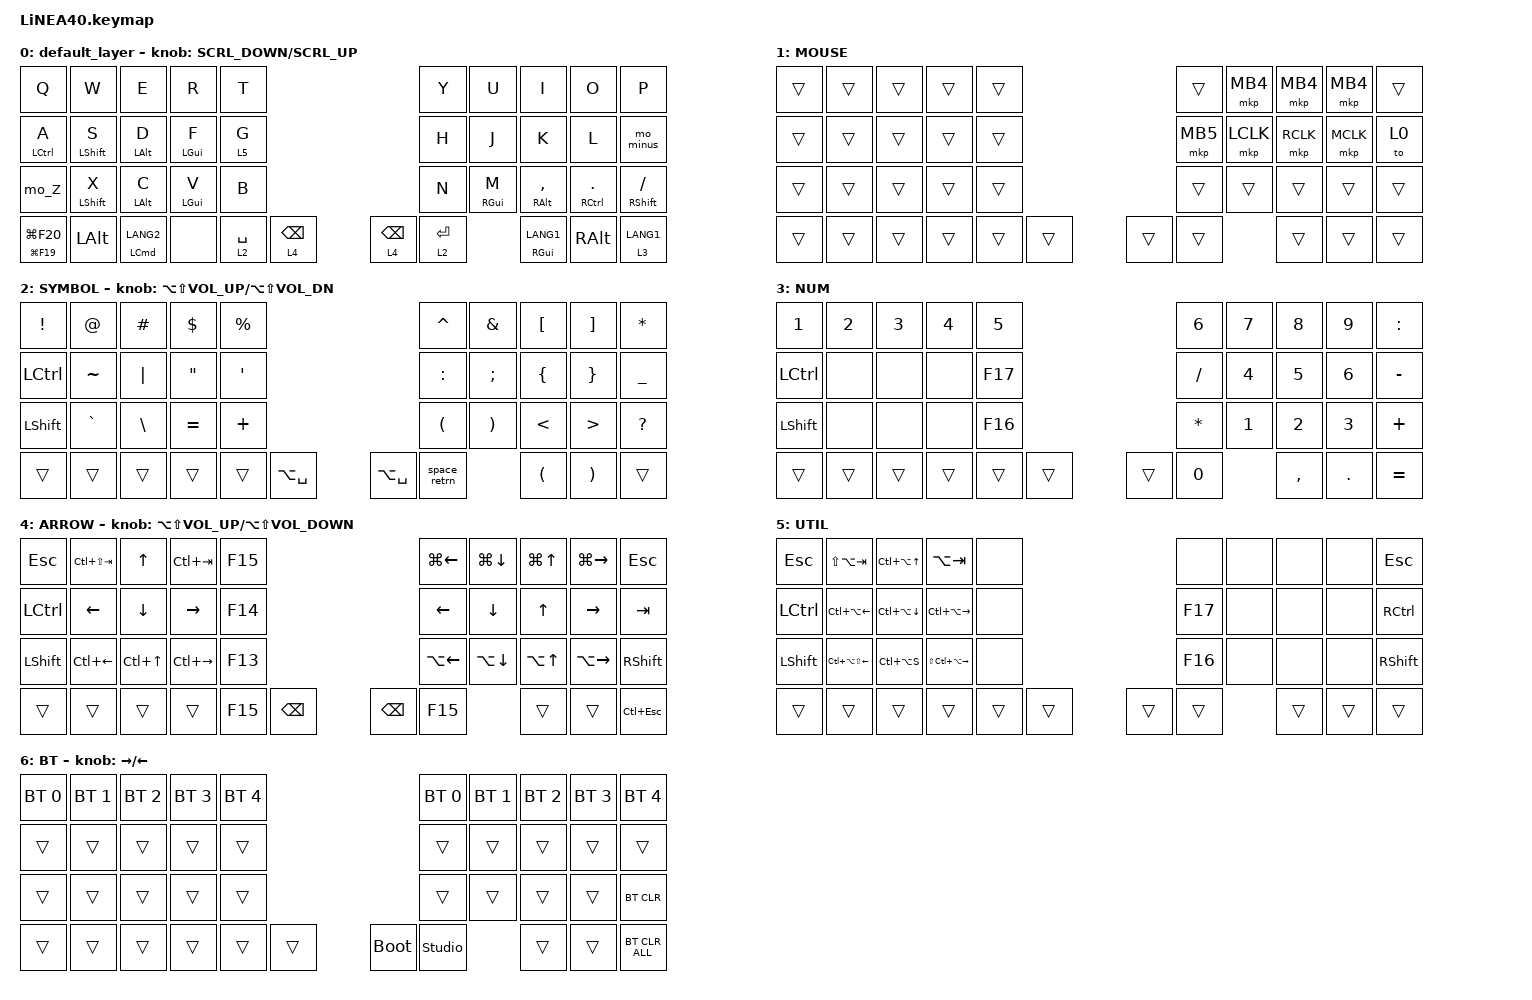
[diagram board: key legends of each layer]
#define ZMK_POINTING_DEFAULT_SCRL_VAL 100

#include <dt-bindings/zmk/input_transform.h>
#include <input/processors.dtsi>
#include <zephyr/dt-bindings/input/input-event-codes.h>
#include <behaviors.dtsi>
#include <dt-bindings/zmk/bt.h>
#include <dt-bindings/zmk/keys.h>
#include <dt-bindings/zmk/pointing.h>

#define MOUSE 1
#define MARK 2
#define CURSOR 3
#define FUNCTION 4
#define SCROLL 5
#define WIRELESS 6

//mouse cursol

&mmv {
    delay-ms = <20>;
    trigger-period-ms = <5>;
    time-to-max-speed-ms = <100>;
    acceleration-exponent = <2>;
};

//mouse scroll

&msc {
    delay-ms = <3>;
    trigger-period-ms = <3>;
    time-to-max-speed-ms = <100>;
    acceleration-exponent = <0>;
};

/ {
    input_processors {
        zip_wheel_scaler: zip_wheel_scaler {
            compatible = "zmk,input-processor-scaler";
            #input-processor-cells = <2>;
            type = <INPUT_EV_REL>;
            codes = <INPUT_REL_WHEEL>;
            track-remainders;
        };
    };
};

&msc_input_listener {
    speed_up {
        layers = <FUNCTION>;
        input-processors = <&zip_wheel_scaler 3 1>; //スクロールを3倍速にする
    };
};

&mkp_input_listener { input-processors = <&zip_temp_layer 1 10000>; };

// トラックボールのスクロール / スナイプは LiNEA40_right.overlay の
// runtime input processor で設定しています (DYA Studio から変更可)

/ {
    // DYA Studio から編集できるよう runtime combo の初期値として定義
    // (DYA Studio で編集した内容が優先され、"Reset to Default" でここに戻る)
    runtime_combo_defaults {
        compatible = "cormoran,runtime-combo-defaults";

        combo_us {
            bindings = <&m_LANG2>;
            key-positions = <21 22>;
            timeout-ms = <50>;
        };

        combo_kana {
            bindings = <&m_LANG1>;
            key-positions = <27 28>;
            timeout-ms = <50>;
        };

        L_SHIFT {
            bindings = <&kp LSHIFT>;
            key-positions = <20 21>;
        };

        tab {
            bindings = <&kp TAB>;
            key-positions = <18 19>;
        };

        R_SHIFT {
            bindings = <&kp RSHIFT>;
            key-positions = <28 29>;
        };

        esc {
            bindings = <&m_esc>;
            key-positions = <0 1>;
        };

        mo_BT {
            bindings = <&mo 6>;
            key-positions = <30 31>;
        };

        STUDIO_UNLOCK {
            bindings = <&studio_unlock>;
            key-positions = <30 31 39 40>;
        };

        mo_num {
            bindings = <&mo 3>;
            key-positions = <12 13>;
        };

        left_return {
            bindings = <&kp RET>;
            key-positions = <22 23>;
        };

        left {
            bindings = <&kp LEFT_ARROW>;
            key-positions = <16 17>;
            require-prior-idle-ms = <50>;
        };

        L_LANG2 {
            bindings = <&m_LANG2>;
            key-positions = <1 2>;
            require-prior-idle-ms = <50>;
        };

        R_LANG1 {
            bindings = <&m_LANG1>;
            key-positions = <7 8>;
            require-prior-idle-ms = <50>;
        };

        L_LANG {
            bindings = <&m_LANG2>;
            key-positions = <11 12>;
        };

        R_LANG {
            bindings = <&m_LANG1>;
            key-positions = <17 18>;
        };

        L_CSA {
            bindings = <&kp LC(LA(LSHIFT))>;
            key-positions = <10 11 12>;
        };

        L_CS {
            bindings = <&kp LC(LSHIFT)>;
            key-positions = <10 11>;
        };

        CG_Left {
            bindings = <&kp LS(LC(LEFT))>;
            key-positions = <21 22>;
            layers = <4>;
        };

        CG_Right {
            bindings = <&kp LS(LC(RIGHT))>;
            key-positions = <22 23>;
            layers = <4>;
        };

        TO1 {
            bindings = <&to 0>;
            key-positions = <34 37>;
        };

        SDG {
            bindings = <&Homerow>;
            key-positions = <11 12 13>;
        };

        JKL {
            bindings = <&Homerow>;
            key-positions = <16 17 18>;
        };

        c_RALT {
            bindings = <&kp RALT>;
            key-positions = <1 2 3>;
        };
    };

    behaviors {
        re_kp: sensor_rotate_kp {
            compatible = "zmk,behavior-sensor-rotate-var";
            #sensor-binding-cells = <2>;
            bindings = <&kp>, <&kp>;
        };

        mouse_scrl: mouse_wheel_scrl {
            compatible = "zmk,behavior-sensor-rotate-var";
            #sensor-binding-cells = <2>;
            bindings = <&msc>, <&msc>;

            tap-ms = <20>;
        };

        mod_tap: mod_tap {
            compatible = "zmk,behavior-hold-tap";
            label = "MOD_TAP";
            bindings = <&kp>, <&kp>;

            #binding-cells = <2>;
            tapping-term-ms = <200>;
            require-prior-idle-ms = <100>;
            flavor = "tap-preferred";
        };

        layer_tap_thumb: layer_tap_thumb {
            compatible = "zmk,behavior-hold-tap";
            label = "LAYER_TAP_THUMB";
            bindings = <&mo>, <&kp>;

            #binding-cells = <2>;
            tapping-term-ms = <150>;
            require-prior-idle-ms = <50>;
            flavor = "tap-preferred";
            quick-tap-ms = <100>;
            hold-while-undecided;
        };

        layer_tap: layer_tap {
            compatible = "zmk,behavior-hold-tap";
            label = "LAYER_TAP";
            bindings = <&mo>, <&kp>;

            #binding-cells = <2>;
            tapping-term-ms = <200>;
            require-prior-idle-ms = <50>;
            flavor = "tap-preferred";
            quick-tap-ms = <100>;
        };

        mo_Z: mo_Z {
            compatible = "zmk,behavior-mod-morph";
            label = "MO_Z";
            bindings = <&mod_tap LSHIFT Z>, <&kp LG(LS(Z))>;

            #binding-cells = <0>;
            mods = <(MOD_LALT)>;
            keep-mods = <(MOD_LGUI|MOD_LSFT)>;
        };

        mo_minus: mo_minus {
            compatible = "zmk,behavior-mod-morph";
            label = "MO_MINUS";
            bindings = <&mod_tap RCTRL MINUS>, <&kp LC(SEMICOLON)>;

            #binding-cells = <0>;
            keep-mods = <(MOD_LCTL)>;
            mods = <(MOD_LCTL)>;
        };
    };

    macros {
        space_retrn: space_retrn {
            compatible = "zmk,behavior-macro";
            #binding-cells = <0>;
            bindings = <&kp SPACE &kp RETURN>;
            label = "SPACE_RETRN";
        };

        m_LANG1: m_LANG1 {
            compatible = "zmk,behavior-macro";
            #binding-cells = <0>;
            bindings = <&kp LANG1 &to 0>;
            label = "M_LANG1";
        };

        m_LANG2: m_LANG2 {
            compatible = "zmk,behavior-macro";
            #binding-cells = <0>;
            bindings = <&kp LANG2 &to 0>;
            label = "M_LANG2";
        };

        Homerow: Homerow {
            compatible = "zmk,behavior-macro";
            #binding-cells = <0>;
            bindings = <&to 0 &kp LS(LG(SPACE))>;
            label = "HOMEROW";
        };

        m_esc: m_esc {
            compatible = "zmk,behavior-macro";
            #binding-cells = <0>;
            bindings = <&kp ESC &to 0>;
            label = "M_ESC";
        };
    };

    keymap {
        compatible = "zmk,keymap";

        default_layer {
            bindings = <
&kp Q                     &kp W              &kp E            &kp R                &kp T                                                                                   &kp Y                   &kp U            &kp I                &kp O                  &kp P
&mod_tap LEFT_CONTROL A   &mod_tap LSHIFT S  &mod_tap LALT D  &mod_tap LGUI F      &layer_tap 5 G                                                                          &kp H                   &kp J            &kp K                &kp L                  &mo_minus
&mo_Z                     &mod_tap LSHIFT X  &mod_tap LALT C  &mod_tap LEFT_GUI V  &kp B                                                                                   &kp N                   &mod_tap RGUI M  &mod_tap RALT COMMA  &mod_tap RCTRL PERIOD  &mod_tap RSHIFT SLASH
&mod_tap LG(F19) LG(F20)  &kp LALT           &mt LCMD LANG2   &none                &layer_tap_thumb 2 SPACE  &layer_tap_thumb 4 BACKSPACE    &layer_tap_thumb 4 BACKSPACE  &layer_tap_thumb 2 RET                   &mt RGUI LANG1       &kp RALT               &layer_tap 3 LANG1
            >;

            sensor-bindings = <&mouse_scrl SCRL_DOWN SCRL_UP>;
        };

        MOUSE {
            bindings = <
&trans  &trans  &trans  &trans  &trans                    &trans    &mkp MB4   &mkp MB4   &mkp MB4   &trans
&trans  &trans  &trans  &trans  &trans                    &mkp MB5  &mkp LCLK  &mkp RCLK  &mkp MCLK  &to 0
&trans  &trans  &trans  &trans  &trans                    &trans    &trans     &trans     &trans     &trans
&trans  &trans  &trans  &trans  &trans  &trans    &trans  &trans               &trans     &trans     &trans
            >;
        };

        SYMBOL {
            bindings = <
&kp EXCLAMATION  &kp AT     &kp HASH       &kp DOLLAR         &kp PERCENT                                  &kp CARET     &kp AMPERSAND  &kp LBKT  &kp RBKT  &kp ASTERISK
&kp LCTRL        &kp TILDE  &kp PIPE       &kp DOUBLE_QUOTES  &kp SQT                                      &kp COLON     &kp SEMICOLON  &kp LBRC  &kp RBRC  &kp UNDERSCORE
&kp LEFT_SHIFT   &kp GRAVE  &kp BACKSLASH  &kp EQUAL          &kp PLUS                                     &kp LPAR      &kp RPAR       &kp LT    &kp GT    &kp QUESTION
&trans           &trans     &trans         &trans             &trans       &kp LA(SPACE)    &kp LA(SPACE)  &space_retrn                 &kp LPAR  &kp RPAR  &trans
            >;

            sensor-bindings = <&re_kp LA(LS(C_VOLUME_UP)) LA(LS(C_VOL_DN))>;
        };

        NUM {
            bindings = <
&kp NUMBER_1      &kp NUMBER_2  &kp NUMBER_3  &kp NUMBER_4  &kp NUMBER_5                    &kp NUMBER_6  &kp NUMBER_7  &kp NUMBER_8  &kp NUMBER_9  &kp COLON
&kp LEFT_CONTROL  &none         &none         &none         &kp F17                         &kp SLASH     &kp NUMBER_4  &kp NUMBER_5  &kp NUMBER_6  &kp MINUS
&kp LSHIFT        &none         &none         &none         &kp F16                         &kp ASTERISK  &kp NUMBER_1  &kp NUMBER_2  &kp NUMBER_3  &kp PLUS
&trans            &trans        &trans        &trans        &trans        &trans    &trans  &kp NUMBER_0                &kp COMMA     &kp PERIOD    &kp EQUAL
            >;
        };

        ARROW {
            bindings = <
&kp ESCAPE  &kp LC(LS(TAB))     &kp UP_ARROW      &kp LC(TAB)    &kp F15                                  &kp LG(LEFT_ARROW)  &kp LG(DOWN)        &kp LG(UP_ARROW)  &kp LG(RIGHT)  &kp ESCAPE
&kp LCTRL   &kp LEFT_ARROW      &kp DOWN_ARROW    &kp RIGHT      &kp F14                                  &kp LEFT_ARROW      &kp DOWN            &kp UP_ARROW      &kp RIGHT      &kp TAB
&kp LSHIFT  &kp LC(LEFT_ARROW)  &kp LC(UP_ARROW)  &kp LC(RIGHT)  &kp F13                                  &kp LA(LEFT_ARROW)  &kp LA(DOWN_ARROW)  &kp LA(UP_ARROW)  &kp LA(RIGHT)  &kp RSHIFT
&trans      &trans              &trans            &trans         &kp F15  &kp BACKSPACE    &kp BACKSPACE  &kp F15                                 &trans            &trans         &kp LC(ESCAPE)
            >;

            sensor-bindings = <&re_kp LA(LS(C_VOLUME_UP)) LA(LS(C_VOLUME_DOWN))>;
        };

        UTIL {
            bindings = <
&kp ESC    &kp LS(LA(TAB))       &kp LC(LA(UP_ARROW))    &kp LA(TAB)            &none                     &none    &none  &none   &none   &kp ESC
&kp LCTRL  &kp LC(LA(LEFT))      &kp LC(LA(DOWN_ARROW))  &kp LC(LA(RIGHT))      &none                     &kp F17  &none  &none   &none   &kp RCTRL
&kp LSHFT  &kp LC(LA(LS(LEFT)))  &kp LC(LA(S))           &kp LS(LC(LA(RIGHT)))  &none                     &kp F16  &none  &none   &none   &kp RSHFT
&trans     &trans                &trans                  &trans                 &trans  &trans    &trans  &trans          &trans  &trans  &trans
            >;
        };

        BT {
            bindings = <
&bt BT_SEL 0  &bt BT_SEL 1  &bt BT_SEL 2  &bt BT_SEL 3  &bt BT_SEL 4                         &bt BT_SEL 0    &bt BT_SEL 1  &bt BT_SEL 2  &bt BT_SEL 3  &bt BT_SEL 4
&trans        &trans        &trans        &trans        &trans                               &trans          &trans        &trans        &trans        &trans
&trans        &trans        &trans        &trans        &trans                               &trans          &trans        &trans        &trans        &bt BT_CLR
&trans        &trans        &trans        &trans        &trans        &trans    &bootloader  &studio_unlock                &trans        &trans        &bt BT_CLR_ALL
            >;

            sensor-bindings = <&inc_dec_kp RIGHT_ARROW LEFT_ARROW>;
        };
    };
};
